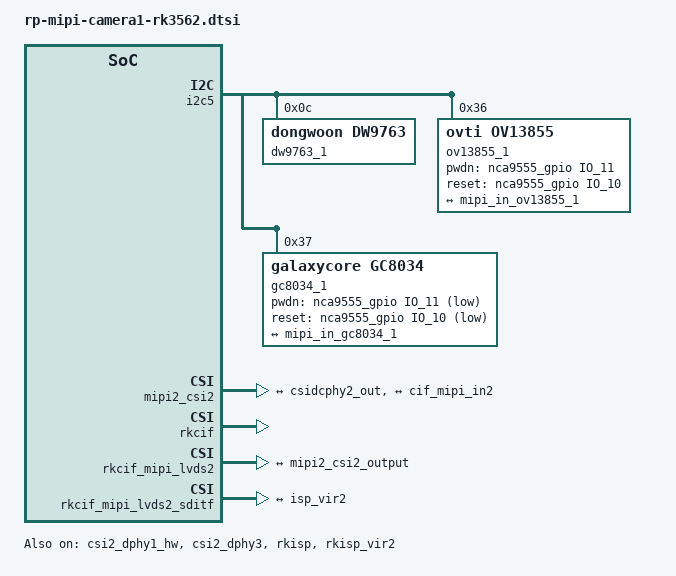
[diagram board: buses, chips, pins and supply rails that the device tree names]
&i2c5 {
        status = "okay";

	dw9763_1: dw9763_1@c {
                compatible = "dongwoon,dw9763";
                status = "okay";
                reg = <0x0c>;
                rockchip,vcm-max-current = <120>;
                rockchip,vcm-start-current = <20>;
                rockchip,vcm-rated-current = <90>;
                rockchip,vcm-step-mode = <3>;
                rockchip,vcm-t-src = <0x20>;
                rockchip,vcm-t-div = <1>;
                rockchip,camera-module-index = <1>;
                rockchip,camera-module-facing = "front";
        };
  
        ov13855_1: ov13855_1@36 {
                compatible = "ovti,ov13855";
                status = "okay";
                reg = <0x36>;
		clocks = <&cru CLK_CAM2_OUT2IO>;
                clock-names = "xvclk";
                pinctrl-names = "default";
                pinctrl-0 = <&cam_clk2_out>;
                pwdn-gpios = <&nca9555_gpio IO_11 GPIO_ACTIVE_HIGH>;
                reset-gpios = <&nca9555_gpio IO_10 GPIO_ACTIVE_HIGH>;
                rockchip,camera-module-index = <1>;
                rockchip,camera-module-facing = "front";
		rockchip,camera-module-name = "KYT-10203-v1";
                rockchip,camera-module-lens-name = "default";
                lens-focus = <&dw9763_1>;
                port {
                        ov13855_out1: endpoint {
                                remote-endpoint = <&mipi_in_ov13855_1>;
                                data-lanes = <1 2 3 4>;
                        };
                };
        };

	gc8034_1: gc8034_1@37 {
                compatible = "galaxycore,gc8034";
                status = "okay";
		reg = <0x37>;
                clocks = <&cru CLK_CAM2_OUT2IO>;
                clock-names = "xvclk";
                pinctrl-names = "default";
                pinctrl-0 = <&cam_clk2_out>;
                pwdn-gpios = <&nca9555_gpio IO_11 GPIO_ACTIVE_LOW>;
                reset-gpios = <&nca9555_gpio IO_10 GPIO_ACTIVE_LOW>;
                rockchip,camera-module-index = <1>;
                rockchip,camera-module-facing = "front";
                rockchip,camera-module-name = "RK-CMK-8M-2-v1";
                rockchip,camera-module-lens-name = "CK8401";
                port {
                        gc8034_out1: endpoint {
                                remote-endpoint = <&mipi_in_gc8034_1>;
                                data-lanes = <1 2 3 4>;
                        };
                };
        };
};


&csi2_dphy1_hw {
	status = "okay";
};

&csi2_dphy3 {
        status = "okay";

        ports {
                #address-cells = <1>;
                #size-cells = <0>;
                port@0 {
                        reg = <0>;
                        #address-cells = <1>;
                        #size-cells = <0>;

			mipi_in_gc8034_1: endpoint@0 {
                                reg = <0>;
                                remote-endpoint = <&gc8034_out1>;
                                data-lanes = <1 2 3 4>;
                        };

			mipi_in_ov13855_1: endpoint@1 {
                                reg = <1>;
                                remote-endpoint = <&ov13855_out1>;
                                data-lanes = <1 2 3 4>;
                        };

              };
                port@1 {
                        reg = <1>;
                        #address-cells = <1>;
                        #size-cells = <0>;

                        csidcphy2_out: endpoint@0 {
                                reg = <0>;
                                remote-endpoint = <&mipi2_csi2_input>;
                        };
                };
        };
};


&mipi2_csi2 {
	status = "okay";

	ports {
		#address-cells = <1>;
		#size-cells = <0>;

		port@0 {
			reg = <0>;
			#address-cells = <1>;
			#size-cells = <0>;

			mipi2_csi2_input: endpoint@1 {
				reg = <1>;
				remote-endpoint = <&csidcphy2_out>;
			};
		};

		port@1 {
			reg = <1>;
			#address-cells = <1>;
			#size-cells = <0>;

			mipi2_csi2_output: endpoint@0 {
				reg = <0>;
				remote-endpoint = <&cif_mipi_in2>;
			};
		};
	};
};

&rkcif {
	status = "okay";
};

&rkcif_mipi_lvds2 {
	status = "okay";

	port {
		cif_mipi_in2: endpoint {
			remote-endpoint = <&mipi2_csi2_output>;
		};
	};
};

&rkcif_mipi_lvds2_sditf {
	status = "okay";

	port {
		mipi_lvds2_sditf: endpoint {
			remote-endpoint = <&isp_vir2>;
		};
	};
};

&rkcif_mmu {
	status = "okay";
};

&rkisp {
	status = "okay";
};

&rkisp_mmu {
	status = "okay";
};

&rkisp_vir2 {
	status = "okay";

	port {
		#address-cells = <1>;
		#size-cells = <0>;

		isp_vir2: endpoint@0 {
			reg = <0>;
			remote-endpoint = <&mipi_lvds2_sditf>;
		};
	};
};
